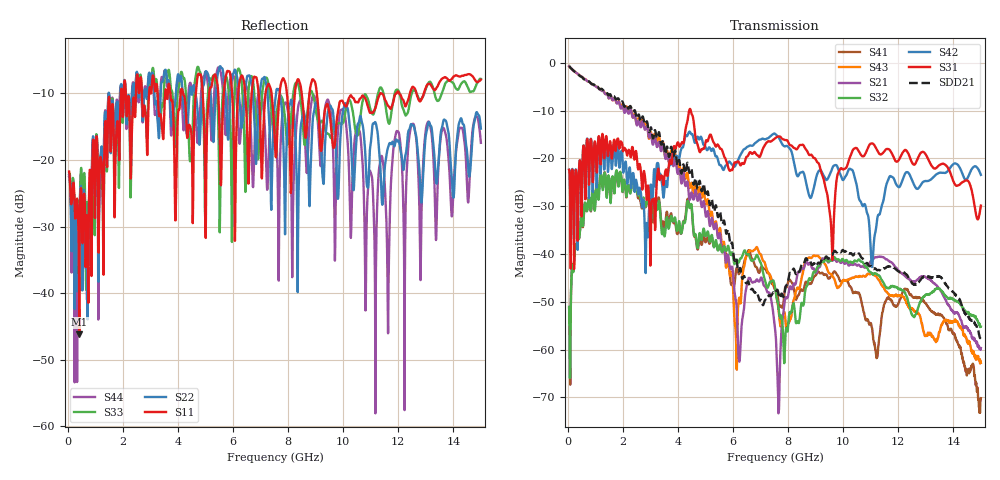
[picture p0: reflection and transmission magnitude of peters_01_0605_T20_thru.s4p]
#  HZ  S  RI  R  50
! peters_01_0605 T20 channel thru response
! FREQ  S11  S12  S13  S14
!  S21  S22  S23  S24
!  S31  S32  S33  S34
!  S41  S42  S43  S44
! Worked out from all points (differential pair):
!   1496 points, 50 MHz to 15 GHz, reference 50 ohm
!   strongest paths, dB at 50 MHz, 3.79 GHz, 7.53 GHz, 11.27 GHz, 15 GHz:
!     S31: -22.4, -20.2, -15.8, -18.7, -29.9
!     S42: -22.3, -20.0, -14.9, -31.8, -23.4
!     S32: -51.0, -32.9, -47.1, -44.4, -55.1
!     S21: -0.7, -20.1, -55.8, -40.6, -59.7
!     S43: -0.7, -19.5, -47.2, -45.3, -62.8
!     S41: -51.3, -32.6, -47.4, -59.3, -70.1
!   taken as a pair (ports 1,3 in; 2,4 out), SDD21 dB: -0.7, -18.6, -48.0, -43.3, -57.4
!   lowest |S11| = -46.2 dB at 420 MHz (marker M1), VSWR 1.01, Z = 50 - j0.489 ohm
!   |S11| at or under -10 dB: start of sweep to 1.928 GHz; 9.044 GHz to 11.34 GHz (2.295 GHz wide, 22.5 % of centre); 11.39 GHz to 11.93 GHz (540.1 MHz wide, 4.63 % of centre)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
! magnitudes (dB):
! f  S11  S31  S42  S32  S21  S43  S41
! 50 MHz  -21.7  -22.4  -22.3  -51.0  -0.7  -0.7  -51.3
! 420 MHz  -46.2  -21.2  -21.1  -36.5  -2.6  -2.6  -36.6
! 5.48 GHz  -11.3  -17.3  -20.9  -39.0  -36.5  -35.8  -39.0
! 7.65 GHz  -12.4  -15.4  -15.5  -51.1  -73.3  -51.5  -50.1
! 9.3 GHz  -13.9  -24.5  -23.7  -41.6  -41.1  -41.8  -44.3
! 11.63 GHz  -11.9  -18.0  -24.5  -47.1  -41.3  -48.3  -49.1
! 15 GHz  -7.9  -29.9  -23.4  -55.1  -59.7  -62.8  -70.1
